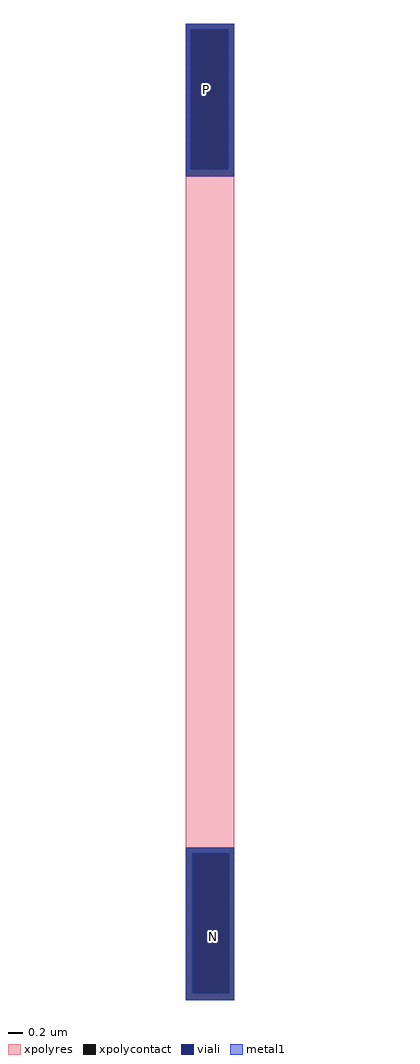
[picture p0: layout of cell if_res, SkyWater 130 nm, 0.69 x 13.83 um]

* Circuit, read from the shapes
.subckt if_res P N
XR1 P N VSUBS sky130_fd_pr__res_xhigh_po w=0.69 l=9.51
.ends

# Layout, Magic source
magic
tech sky130A
magscale 1 2
<< xpolycontact >>
rect -400 2334 -262 2766
rect -400 0 -262 432
<< xpolyres >>
rect -400 432 -262 2334
<< viali >>
rect -385 2354 -279 2751
rect -382 19 -276 416
<< metal1 >>
rect -400 2751 -262 2766
rect -400 2354 -385 2751
rect -279 2354 -262 2751
rect -400 2334 -262 2354
rect -400 416 -262 432
rect -400 19 -382 416
rect -276 19 -262 416
rect -400 0 -262 19
<< labels >>
flabel viali -340 2580 -340 2580 0 FreeSans 1600 0 0 0 P
port 1 nsew
flabel viali -320 180 -320 180 0 FreeSans 1600 0 0 0 N
port 2 nsew
<< end >>
